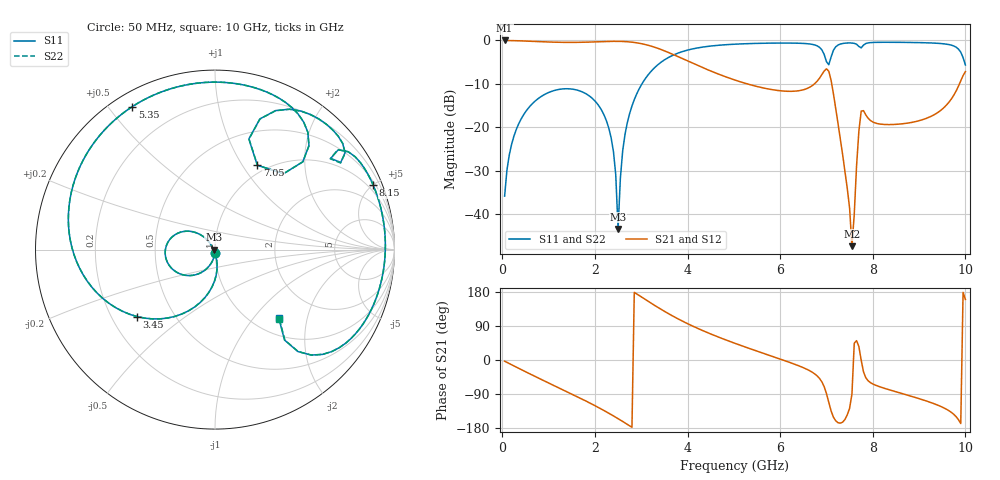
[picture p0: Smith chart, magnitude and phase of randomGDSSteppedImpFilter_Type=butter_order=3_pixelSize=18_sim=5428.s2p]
! freq	dB(S11)	phase(S11)	dB(S12)	phase(S12)
!  dB(S21)	phase(S21)	dB(S22)	phase(S22)
!S-par simulation data
#  GHz  S  DB  R 50
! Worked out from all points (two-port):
!   200 points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, 50 MHz to 10 GHz, reference 50 ohm
!   highest |S21| = -0.01 dB at 50 MHz (marker M1); lowest = -47.3 dB at 7.55 GHz (marker M2)
!   |S21| within 3 dB of the highest: start of sweep to 3.641 GHz
!   lowest |S11| = -43.4 dB at 2.5 GHz (marker M3), VSWR 1.01, Z = 49.3 - j0.0955 ohm
!   |S11| at or under -10 dB: start of sweep to 3.015 GHz
!   |S22| runs from -43.2 to -0.4 dB; largest |S21 - S12| = 0
!   S11 on the Smith chart (normalised r, x): 50 MHz: 1.00, -0.03; 3.45 GHz: 0.31, -0.34; 5.35 GHz: 0.06, +0.58; 7.05 GHz: 0.90, +1.17; 8.15 GHz: 0.66, +5.02; 10 GHz: 1.29, -1.36
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0.05  -35.79 -92.7  -0.01 -3.2  -0.01 -3.2  -35.79 -92.7
0.2  -23.92 -102.5  -0.04 -12.5  -0.04 -12.5  -23.92 -102.5
0.55  -15.73 -124.4  -0.16 -33.9  -0.16 -33.9  -15.73 -124.4
1.75  -11.94 165.0  -0.42 -104.8  -0.42 -104.8  -11.94 165.1
2.3  -20.17 131.9  -0.23 -140.5  -0.23 -140.5  -20.17 132.0
2.45  -30.89 130.8  -0.21 -151.1  -0.21 -151.1  -30.88 131.1
2.5  -43.36 -171.8  -0.21 -154.8  -0.21 -154.8  -43.20 -171.4
2.6  -25.34 -80.6  -0.24 -162.2  -0.24 -162.2  -25.33 -80.7
2.7  -18.90 -84.4  -0.30 -169.9  -0.30 -169.9  -18.90 -84.5
3.4  -5.24 -135.7  -1.98 135.8  -1.98 135.8  -5.24 -135.8
3.45  -4.84 -139.3  -2.18 132.2  -2.18 132.2  -4.84 -139.4
4.2  -1.76 173.7  -5.66 84.5  -5.66 84.5  -1.76 173.7
5.05  -0.85 132.9  -9.20 42.8  -9.20 42.8  -0.85 132.9
5.35  -0.72 120.0  -10.17 29.8  -10.17 29.8  -0.72 120.0
6.7  -0.92 61.5  -10.34 -32.8  -10.34 -32.8  -0.92 61.5
7.05  -5.58 63.3  -7.08 -112.1  -7.08 -112.1  -5.58 63.3
7.55  -0.60 42.7  -47.29 -90.3  -47.29 -90.3  -0.60 42.7
7.75  -1.71 38.2  -16.25 -0.4  -16.25 -0.4  -1.75 38.3
8.15  -0.43 22.2  -19.21 -70.7  -19.21 -70.7  -0.43 22.2
8.35  -0.42 14.4  -19.34 -78.4  -19.34 -78.4  -0.42 14.4
9.4  -0.66 -24.7  -16.60 -119.0  -16.60 -119.0  -0.66 -24.7
10  -5.64 -47.1  -7.18 159.8  -7.18 159.8  -5.59 -47.0
